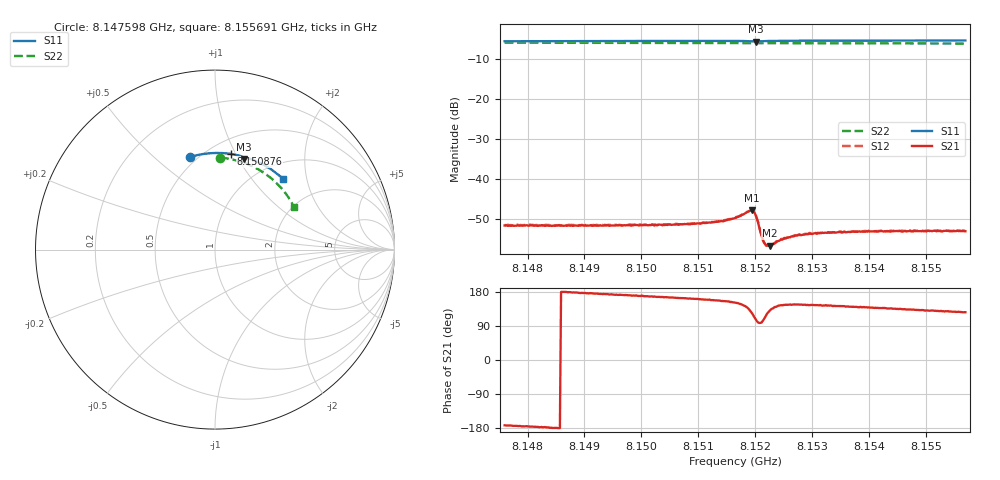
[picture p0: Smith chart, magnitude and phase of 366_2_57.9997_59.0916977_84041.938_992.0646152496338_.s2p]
#  HZ  S  RI  R  50.00
! Rohde & Schwarz Vector Network Analyzer
! Rohde-Schwarz,ZNB20-2Port,1311601062101988,3.16
! Created: UTC 3/21/2024, 1:06:43 AM
! freq[Hz]  re:S11  im:S11  re:S21  im:S21  re:S12  im:S12  re:S22  im:S22
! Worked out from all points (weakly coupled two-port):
!   401 points, 8.147598 GHz to 8.155691 GHz, reference 50 ohm
!   highest |S21| = -47.82 dB at 8.151948 GHz (marker M1); lowest = -56.7 dB at 8.152252 GHz (marker M2)
!   lowest |S11| = -5.5 dB at 8.152009 GHz (marker M3), VSWR 3.25, Z = 37.4 + j52.6 ohm
!   |S11| at or under -10 dB: nowhere
!   |S22| runs from -6.0 to -5.8 dB; largest |S21 - S12| = 0.00012
!   S11 on the Smith chart (normalised r, x): 8.147598 GHz: 0.46, +0.66; 8.150876 GHz: 0.63, +0.96; 8.155691 GHz: 1.30, +1.46
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8.1475977e9  -0.1383 0.5166  -0.0026 -0.000346  -0.00266 -0.000297  0.0284 0.512
8.1489534e9  -0.0454 0.5352  -0.00265 0.000134  -0.00268 0.000177  0.1154 0.4979
8.1503091e9  0.0488 0.5373  -0.00263 0.000624  -0.00265 0.000706  0.1979 0.4692
8.1508756e9  0.0882 0.5331  -0.00261 0.000868  -0.00263 0.000897  0.2306 0.4531
8.1513815e9  0.1236 0.5264  -0.00272 0.00117  -0.00273 0.00124  0.2584 0.4369
8.1516445e9  0.1425 0.5213  -0.00286 0.00156  -0.0029 0.00159  0.2727 0.4277
8.1518873e9  0.1597 0.5113  -0.00276 0.00283  -0.00275 0.00288  0.2854 0.4186
8.151948e9  0.1613 0.507  -0.00218 0.00343  -0.00214 0.00344  0.2883 0.4163
8.1519885e9  0.1608 0.5052  -0.00143 0.00352  -0.0014 0.00352  0.2902 0.4148
8.1520087e9  0.1601 0.5051  -0.00104 0.00337  -0.00099 0.00342  0.2911 0.414
8.1520492e9  0.1597 0.5061  -0.000464 0.00284  -0.000422 0.00288  0.2931 0.4126
8.1521099e9  0.1622 0.5092  -0.000297 0.00196  -0.000274 0.00194  0.2962 0.4105
8.1521504e9  0.1651 0.5105  -0.000479 0.00155  -0.000453 0.00156  0.2984 0.4091
8.1521908e9  0.1685 0.511  -0.00069 0.00133  -0.000654 0.0013  0.3004 0.4075
8.1522515e9  0.1737 0.5109  -0.000934 0.00113  -0.00095 0.00115  0.3034 0.4052
8.1523122e9  0.1784 0.5101  -0.00112 0.00107  -0.00113 0.00103  0.3064 0.4027
8.1524741e9  0.1905 0.5072  -0.00142 0.00102  -0.00145 0.00104  0.3145 0.3962
8.1526562e9  0.2032 0.503  -0.0016 0.00107  -0.00159 0.0011  0.3234 0.3888
8.1530002e9  0.226 0.4941  -0.0017 0.00117  -0.00173 0.0012  0.3394 0.374
8.1534656e9  0.2555 0.4803  -0.00172 0.00132  -0.00172 0.00137  0.3599 0.353
8.1543559e9  0.3089 0.4495  -0.0016 0.00155  -0.0016 0.00156  0.3957 0.3101
8.1556913e9  0.3811 0.3928  -0.00131 0.0018  -0.00131 0.00186  0.4394 0.2394
